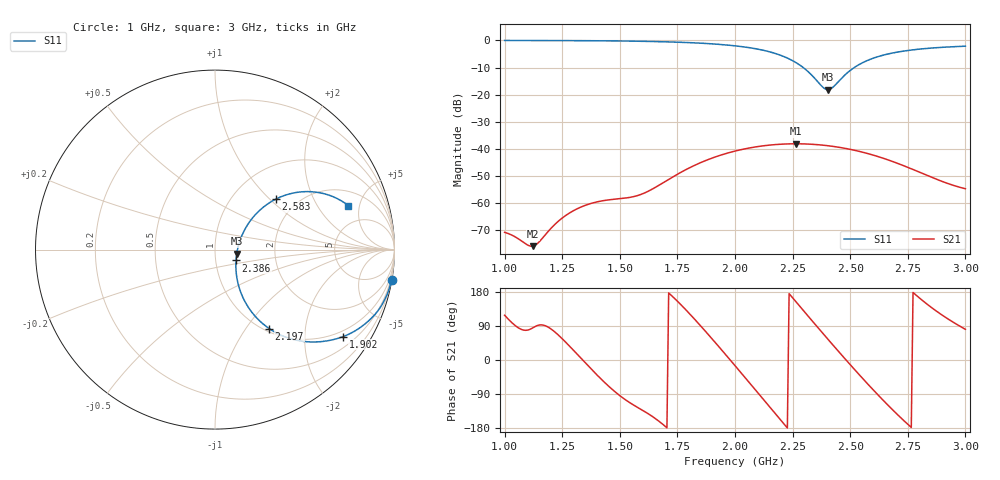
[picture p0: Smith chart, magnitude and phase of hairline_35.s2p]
! TOUCHSTONE file generated by CST MICROWAVE STUDIO
! Date and time: Tue Mar 18 20:31:51 2025
! Project name: hairline.cst
! Parameters = {B=12.5; D=160; F=25; Feed=2.85625; Fracture=1; L=100; M=50; R=0.384908; S=1.5; Theta=180; length=57.125; wave=114.25}
! Header version: 2024
! Port assignment regex: !\s*Touchstone port\s*([0-9]+)\s*=\s*(CST MWS port|CST DES external port|CST DES block port)\s*(.+)\s* \(\"(.*)\"\)(\s*mode\s*([0-9]+))?.*
! Touchstone port assignment:
! Touchstone port 1 = CST MWS port 1 ("")
! Touchstone port 2 = CST MWS port 2 ("")
# GHz S DB R 50
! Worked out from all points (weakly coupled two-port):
!   265 points, 1 GHz to 3 GHz, reference 50 ohm
!   highest |S21| = -38.13 dB at 2.265 GHz (marker M1); lowest = -75.9 dB at 1.121 GHz (marker M2)
!   lowest |S11| = -18.2 dB at 2.402 GHz (marker M3), VSWR 1.28, Z = 63.7 - j3.05 ohm
!   |S11| at or under -10 dB: 2.296 GHz to 2.518 GHz (221.8 MHz wide, 9.21 % of centre)
!   S12 and S22 are empty: the file has one direction only
!   S11 on the Smith chart (normalised r, x): 1 GHz: 0, -12; 1.902 GHz: 0.81, -3.06; 2.197 GHz: 1.05, -1.29; 2.386 GHz: 1.25, -0.15; 2.583 GHz: 1.56, +1.10; 3 GHz: 3.07, +3.88
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1  -0.02 -9.7  -70.79 118.2  -200.00 0.0  -200.00 0.0
1.12121  -0.03 -11.4  -75.89 84.4  -200.00 0.0  -200.00 0.0
1.14394  -0.04 -11.8  -74.82 91.3  -200.00 0.0  -200.00 0.0
1.25  -0.06 -13.6  -65.52 56.1  -200.00 0.0  -200.00 0.0
1.34091  -0.10 -15.3  -61.13 -1.5  -200.00 0.0  -200.00 0.0
1.56818  -0.28 -20.9  -57.44 -121.9  -200.00 0.0  -200.00 0.0
1.66667  -0.45 -24.0  -53.59 -160.1  -200.00 0.0  -200.00 0.0
1.79545  -0.80 -29.0  -47.28 126.8  -200.00 0.0  -200.00 0.0
1.90152  -1.28 -34.1  -43.37 55.1  -200.00 0.0  -200.00 0.0
2  -2.00 -40.0  -40.82 -14.8  -200.00 0.0  -200.00 0.0
2.10606  -3.34 -47.9  -39.07 -91.5  -200.00 0.0  -200.00 0.0
2.19697  -5.46 -55.6  -38.30 -157.5  -200.00 0.0  -200.00 0.0
2.26515  -8.21 -59.8  -38.13 153.3  -200.00 0.0  -200.00 0.0
2.34091  -13.50 -53.9  -38.35 99.0  -200.00 0.0  -200.00 0.0
2.38636  -17.61 -27.2  -38.68 66.7  -200.00 0.0  -200.00 0.0
2.40152  -18.18 -11.0  -38.83 56.0  -200.00 0.0  -200.00 0.0
2.42424  -17.33 12.6  -39.07 40.1  -200.00 0.0  -200.00 0.0
2.50758  -10.60 40.8  -40.32 -17.4  -200.00 0.0  -200.00 0.0
2.58333  -7.10 39.7  -41.90 -68.0  -200.00 0.0  -200.00 0.0
2.66667  -4.96 34.5  -44.13 -120.9  -200.00 0.0  -200.00 0.0
2.81818  -3.07 25.6  -49.23 154.8  -200.00 0.0  -200.00 0.0
3  -2.14 18.3  -54.71 80.9  -200.00 0.0  -200.00 0.0
